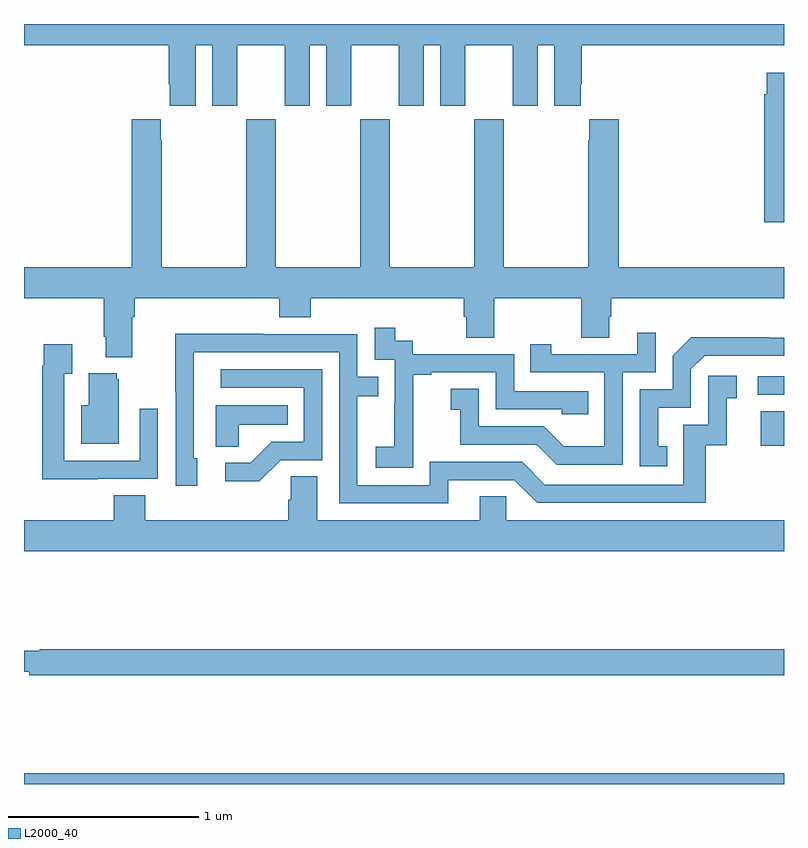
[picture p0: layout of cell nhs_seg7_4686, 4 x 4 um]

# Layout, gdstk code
import gdstk
lib = gdstk.Library(unit=1e-6, precision=1e-09)
def R(c, l, rs):  # rectangles x0, y0, x1, y1
    for r in rs: c.add(gdstk.rectangle(r[:2], r[2:], *l))
def P(c, l, *ps):  # polygons
    for p in ps: c.add(gdstk.Polygon(p, *l))
L2000_40 = (2000, 40)

nhs_seg7_4686 = lib.new_cell('nhs_seg7_4686')
R(nhs_seg7_4686, L2000_40, [(405,1058,409,1058.056), (408.878,1059.78,409,1059.961), (408.861,1060.05,409,1060.146)])
P(nhs_seg7_4686, L2000_40, [(405.904,1061.888),(405.992,1061.888),(405.992,1061.571),(406.123,1061.571),(406.123,1061.888),(406.373,1061.888),(406.373,1061.571),(406.504,1061.571),(406.504,1061.888),(406.592,1061.888),(406.592,1061.571),(406.723,1061.571),(406.723,1061.888),(406.973,1061.888),(406.973,1061.571),(407.104,1061.571),(407.104,1061.888),(407.192,1061.888),(407.192,1061.571),(407.323,1061.571),(407.323,1061.888),(407.573,1061.888),(407.573,1061.571),(407.704,1061.571),(407.704,1061.888),(407.792,1061.888),(407.792,1061.571),(407.929,1061.571),(407.929,1061.683),(407.936,1061.683),(407.936,1061.888),(409,1061.888),(409,1062),(405,1062),(405,1061.888),(405.761,1061.888),(405.761,1061.683),(405.767,1061.683),(405.767,1061.571),(405.904,1061.571)],
  [(409,1061.743),(408.908,1061.743),(408.908,1061.63),(408.896,1061.63),(408.896,1060.956),(409,1060.956)],
  [(406.926,1061.5),(406.771,1061.5),(406.771,1060.72),(406.326,1060.72),(406.326,1061.5),(406.171,1061.5),(406.171,1060.72),(405.726,1060.72),(405.726,1061.387),(405.721,1061.387),(405.721,1061.5),(405.566,1061.5),(405.566,1060.72),(405,1060.72),(405,1060.556),(405.419,1060.556),(405.419,1060.354),(405.431,1060.354),(405.431,1060.247),(405.571,1060.247),(405.571,1060.46),(405.584,1060.46),(405.584,1060.556),(406.343,1060.556),(406.343,1060.457),(406.508,1060.457),(406.508,1060.556),(407.315,1060.556),(407.315,1060.458),(407.327,1060.458),(407.327,1060.348),(407.475,1060.348),(407.475,1060.556),(407.932,1060.556),(407.932,1060.348),(408.079,1060.348),(408.079,1060.458),(408.092,1060.458),(408.092,1060.556),(409,1060.556),(409,1060.72),(408.131,1060.72),(408.131,1061.5),(407.975,1061.5),(407.975,1061.387),(407.971,1061.387),(407.971,1060.72),(407.526,1060.72),(407.526,1061.5),(407.371,1061.5),(407.371,1060.72),(406.926,1060.72)],
  [(407.049,1059.871),(407.048,1059.871),(407.048,1060.155),(407.143,1060.155),(407.143,1060.167),(407.484,1060.167),(407.484,1059.972),(407.829,1059.972),(407.829,1059.945),(407.969,1059.945),(407.969,1060.068),(407.58,1060.068),(407.58,1060.263),(407.046,1060.263),(407.046,1060.332),(406.954,1060.332),(406.954,1060.402),(406.845,1060.402),(406.845,1060.233),(406.95,1060.233),(406.95,1060.004),(406.949,1060.004),(406.949,1059.775),(406.851,1059.775),(406.851,1059.665),(407.049,1059.665)],
  [(408.15,1060.167),(408.324,1060.167),(408.324,1060.375),(408.227,1060.375),(408.227,1060.263),(407.776,1060.263),(407.776,1060.315),(407.665,1060.315),(407.665,1060.167),(408.054,1060.167),(408.054,1059.778),(407.84,1059.778),(407.736,1059.882),(407.394,1059.882),(407.394,1060.081),(407.247,1060.081),(407.247,1059.971),(407.296,1059.971),(407.296,1059.786),(407.699,1059.786),(407.804,1059.681),(408.15,1059.681)],
  [(407.233,1059.6),(407.58,1059.6),(407.7,1059.48),(408.587,1059.48),(408.587,1059.783),(408.698,1059.783),(408.698,1060.029),(408.751,1060.029),(408.751,1060.15),(408.6,1060.15),(408.6,1059.891),(408.471,1059.891),(408.471,1059.576),(407.742,1059.576),(407.622,1059.696),(407.136,1059.696),(407.136,1059.573),(406.755,1059.573),(406.755,1060.042),(406.865,1060.042),(406.865,1060.143),(406.755,1060.143),(406.755,1060.368),(406.259,1060.368),(406.259,1060.37),(405.796,1060.37),(405.796,1060.063),(405.798,1060.063),(405.798,1059.57),(405.913,1059.57),(405.913,1059.714),(405.894,1059.714),(405.894,1060.272),(406.659,1060.272),(406.659,1059.477),(407.233,1059.477)],
  [(408.386,1059.777),(408.337,1059.777),(408.337,1059.981),(408.51,1059.981),(408.51,1060.182),(408.582,1060.254),(409,1060.254),(409,1060.35),(408.92,1060.35),(408.92,1060.352),(408.512,1060.352),(408.414,1060.254),(408.414,1060.077),(408.24,1060.077),(408.24,1059.672),(408.386,1059.672)],
  [(405.389,1059.606),(405.705,1059.606),(405.705,1059.976),(405.609,1059.976),(405.609,1059.702),(405.213,1059.702),(405.213,1060.159),(405.253,1060.159),(405.253,1060.315),(405.105,1060.315),(405.105,1060.202),(405.097,1060.202),(405.097,1059.605),(405.389,1059.605)],
  [(406.35,1059.705),(406.569,1059.705),(406.569,1060.182),(406.035,1060.182),(406.035,1060.086),(406.473,1060.086),(406.473,1059.801),(406.304,1059.801),(406.193,1059.69),(406.059,1059.69),(406.059,1059.593),(406.237,1059.593)],
  [(405.499,1060.131),(405.488,1060.131),(405.488,1060.162),(405.341,1060.162),(405.341,1059.994),(405.302,1059.994),(405.302,1059.791),(405.499,1059.791)],
  [(406.131,1059.89),(406.388,1059.89),(406.388,1059.994),(406.01,1059.994),(406.01,1059.775),(406.131,1059.775)],
  [(409,1059.388),(407.538,1059.388),(407.538,1059.515),(407.399,1059.515),(407.399,1059.388),(406.543,1059.388),(406.543,1059.62),(406.404,1059.62),(406.404,1059.497),(406.391,1059.497),(406.391,1059.388),(405.638,1059.388),(405.638,1059.521),(405.473,1059.521),(405.473,1059.388),(405,1059.388),(405,1059.224),(409,1059.224)],
  [(409,1058.708),(405.083,1058.708),(405.083,1058.701),(405,1058.701),(405,1058.591),(405.028,1058.591),(405.028,1058.572),(409,1058.572)])

lib.write_gds('nhs_seg7_4686.gds')
